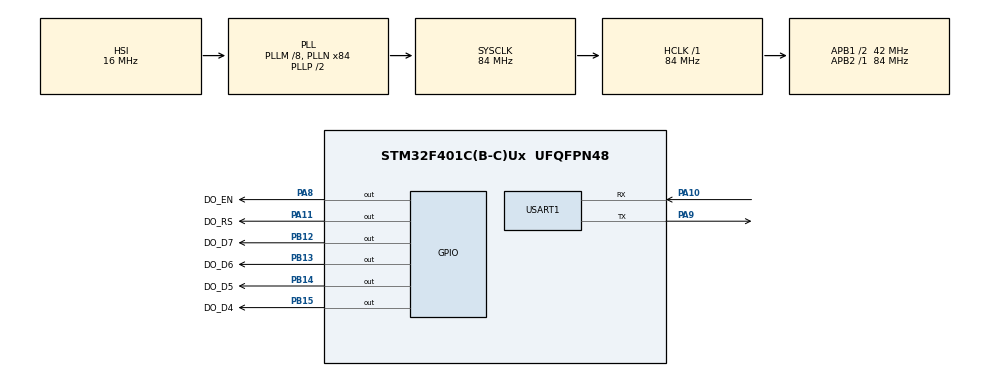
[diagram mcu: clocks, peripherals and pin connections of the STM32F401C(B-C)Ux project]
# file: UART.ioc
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Mcu.Family=STM32F4
Mcu.Name=STM32F401C(B-C)Ux
Mcu.Package=UFQFPN48
NVIC.PriorityGroup=NVIC_PRIORITYGROUP_4
PA10.Mode=Asynchronous
PA10.Signal=USART1_RX
PA11.GPIO_Label=DO_RS
PA11.Signal=GPIO_Output
PA13.Mode=Serial_Wire
PA13.Signal=SYS_JTMS-SWDIO
PA14.Mode=Serial_Wire
PA14.Signal=SYS_JTCK-SWCLK
PA8.GPIO_Label=DO_EN
PA8.Signal=GPIO_Output
PA9.Mode=Asynchronous
PA9.Signal=USART1_TX
PB12.GPIO_Label=DO_D7
PB12.Signal=GPIO_Output
PB13.GPIO_Label=DO_D6
PB13.Signal=GPIO_Output
PB14.GPIO_Label=DO_D5
PB14.Signal=GPIO_Output
PB15.GPIO_Label=DO_D4
PB15.Signal=GPIO_Output
PH0\ -\ OSC_IN.Mode=HSE-External-Oscillator
PH0\ -\ OSC_IN.Signal=RCC_OSC_IN
PH1\ -\ OSC_OUT.Mode=HSE-External-Oscillator
PH1\ -\ OSC_OUT.Signal=RCC_OSC_OUT
ProjectManager.HeapSize=0x200
ProjectManager.StackSize=0x400
ProjectManager.TargetToolchain=STM32CubeIDE
RCC.48MHZClocksFreq_Value=42000000
RCC.AHBFreq_Value=84000000
RCC.APB1CLKDivider=RCC_HCLK_DIV2
RCC.APB1Freq_Value=42000000
RCC.APB1TimFreq_Value=84000000
RCC.APB2Freq_Value=84000000
RCC.APB2TimFreq_Value=84000000
RCC.CortexFreq_Value=84000000
RCC.HCLKFreq_Value=84000000
RCC.HSE_VALUE=25000000
RCC.HSI_VALUE=16000000
RCC.LSE_VALUE=32768
RCC.PLLM=8
RCC.PLLN=84
RCC.SYSCLKFreq_VALUE=84000000
RCC.SYSCLKSource=RCC_SYSCLKSOURCE_PLLCLK
RCC.VCOOutputFreq_Value=168000000
TIM1.AutoReloadPreload=TIM_AUTORELOAD_PRELOAD_DISABLE
TIM1.Prescaler=71
USART1.VirtualMode=VM_ASYNC
VP_TIM1_VS_ClockSourceINT.Mode=Internal
board=custom

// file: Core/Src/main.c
/* USER CODE BEGIN Header */
/**
  ******************************************************************************
  * @file           : main.c
  * @brief          : Main program body
  ******************************************************************************
  * @attention
  *
  * Copyright (c) 2024 STMicroelectronics.
  * All rights reserved.
  *
  * This software is licensed under terms that can be found in the LICENSE file
  * in the root directory of this software component.
  * If no LICENSE file comes with this software, it is provided AS-IS.
  *
  ******************************************************************************
  */
/* USER CODE END Header */
#include "main.h"
#include "string.h"
/* USER CODE BEGIN Includes */
#include "LCD1602.h"
/* USER CODE END Includes */

TIM_HandleTypeDef htim1;

UART_HandleTypeDef huart1;

void SystemClock_Config(void);
static void MX_GPIO_Init(void);
static void MX_TIM1_Init(void);
static void MX_USART1_UART_Init(void);

/* USER CODE BEGIN 0 */
uint8_t B_Rx[255];
uint8_t Recieve(uint8_t B_N , uint32_t D_TO)
{
	return !HAL_UART_Receive(&huart1, B_Rx, B_N, D_TO);
}

int* get_RecievedArray()
{
	return (int *)B_Rx;
}

void Transmit(char Char[])
{
	HAL_UART_Transmit(&huart1, (uint8_t*)Char, strlen(Char), 100);
}
/* USER CODE END 0 */

int main(void)
{

  /* MCU Configuration--------------------------------------------------------*/

  /* Reset of all peripherals, Initializes the Flash interface and the Systick. */
  HAL_Init();

  /* Configure the system clock */
  SystemClock_Config();

  /* Initialize all configured peripherals */
  MX_GPIO_Init();
  MX_TIM1_Init();
  MX_USART1_UART_Init();
  /* USER CODE BEGIN 2 */
  HAL_TIM_Base_Start(&htim1);
  lcd_init ();
  lcd_clear();
  lcd_put_cur(0, 0);
  lcd_send_string("   Panda+ Kit   ");
  lcd_put_cur(1, 0);
  lcd_send_string("                ");

  Transmit("FARESPCB Co.\r\n");
  Transmit("Panda+ Development kit\r\n");

  uint8_t B_C4LCD;

  /* USER CODE END 2 */

  /* Infinite loop */
  /* USER CODE BEGIN WHILE */
  while (1)
  {
	if (Recieve(1, 1)==1)
	{
		if (B_C4LCD>15)
		{
			B_C4LCD=0;
			lcd_put_cur(1, 0);
			lcd_send_string("                ");
		}
		int *t=get_RecievedArray();
		lcd_put_cur(1,B_C4LCD);
		lcd_send_data((uint8_t)*t);
		B_C4LCD++;
		Transmit("OK\r\n");
	}
    /* USER CODE END WHILE */

  }
}

void SystemClock_Config(void)
{
  RCC_OscInitTypeDef RCC_OscInitStruct = {0};
  RCC_ClkInitTypeDef RCC_ClkInitStruct = {0};

  /** Configure the main internal regulator output voltage
  */
  __HAL_RCC_PWR_CLK_ENABLE();
  __HAL_PWR_VOLTAGESCALING_CONFIG(PWR_REGULATOR_VOLTAGE_SCALE2);
  /** Initializes the RCC Oscillators according to the specified parameters
  * in the RCC_OscInitTypeDef structure.
  */
  RCC_OscInitStruct.OscillatorType = RCC_OSCILLATORTYPE_HSI;
  RCC_OscInitStruct.HSIState = RCC_HSI_ON;
  RCC_OscInitStruct.HSICalibrationValue = RCC_HSICALIBRATION_DEFAULT;
  RCC_OscInitStruct.PLL.PLLState = RCC_PLL_ON;
  RCC_OscInitStruct.PLL.PLLSource = RCC_PLLSOURCE_HSI;
  RCC_OscInitStruct.PLL.PLLM = 8;
  RCC_OscInitStruct.PLL.PLLN = 84;
  RCC_OscInitStruct.PLL.PLLP = RCC_PLLP_DIV2;
  RCC_OscInitStruct.PLL.PLLQ = 4;
  if (HAL_RCC_OscConfig(&RCC_OscInitStruct) != HAL_OK)
  {
    Error_Handler();
  }
  /** Initializes the CPU, AHB and APB buses clocks
  */
  RCC_ClkInitStruct.ClockType = RCC_CLOCKTYPE_HCLK|RCC_CLOCKTYPE_SYSCLK
                              |RCC_CLOCKTYPE_PCLK1|RCC_CLOCKTYPE_PCLK2;
  RCC_ClkInitStruct.SYSCLKSource = RCC_SYSCLKSOURCE_PLLCLK;
  RCC_ClkInitStruct.AHBCLKDivider = RCC_SYSCLK_DIV1;
  RCC_ClkInitStruct.APB1CLKDivider = RCC_HCLK_DIV2;
  RCC_ClkInitStruct.APB2CLKDivider = RCC_HCLK_DIV1;

  if (HAL_RCC_ClockConfig(&RCC_ClkInitStruct, FLASH_LATENCY_2) != HAL_OK)
  {
    Error_Handler();
  }
}

static void MX_TIM1_Init(void)
{

  TIM_ClockConfigTypeDef sClockSourceConfig = {0};
  TIM_MasterConfigTypeDef sMasterConfig = {0};

  htim1.Instance = TIM1;
  htim1.Init.Prescaler = 71;
  htim1.Init.CounterMode = TIM_COUNTERMODE_UP;
  htim1.Init.Period = 65535;
  htim1.Init.ClockDivision = TIM_CLOCKDIVISION_DIV1;
  htim1.Init.RepetitionCounter = 0;
  htim1.Init.AutoReloadPreload = TIM_AUTORELOAD_PRELOAD_DISABLE;
  if (HAL_TIM_Base_Init(&htim1) != HAL_OK)
  {
    Error_Handler();
  }
  sClockSourceConfig.ClockSource = TIM_CLOCKSOURCE_INTERNAL;
  if (HAL_TIM_ConfigClockSource(&htim1, &sClockSourceConfig) != HAL_OK)
  {
    Error_Handler();
  }
  sMasterConfig.MasterOutputTrigger = TIM_TRGO_RESET;
  sMasterConfig.MasterSlaveMode = TIM_MASTERSLAVEMODE_DISABLE;
  if (HAL_TIMEx_MasterConfigSynchronization(&htim1, &sMasterConfig) != HAL_OK)
  {
    Error_Handler();
  }

}

static void MX_USART1_UART_Init(void)
{

  huart1.Instance = USART1;
  huart1.Init.BaudRate = 115200;
  huart1.Init.WordLength = UART_WORDLENGTH_8B;
  huart1.Init.StopBits = UART_STOPBITS_1;
  huart1.Init.Parity = UART_PARITY_NONE;
  huart1.Init.Mode = UART_MODE_TX_RX;
  huart1.Init.HwFlowCtl = UART_HWCONTROL_NONE;
  huart1.Init.OverSampling = UART_OVERSAMPLING_16;
  if (HAL_UART_Init(&huart1) != HAL_OK)
  {
    Error_Handler();
  }

}

static void MX_GPIO_Init(void)
{
  GPIO_InitTypeDef GPIO_InitStruct = {0};

  /* GPIO Ports Clock Enable */
  __HAL_RCC_GPIOH_CLK_ENABLE();
  __HAL_RCC_GPIOB_CLK_ENABLE();
  __HAL_RCC_GPIOA_CLK_ENABLE();

  /*Configure GPIO pin Output Level */
  HAL_GPIO_WritePin(GPIOB, DO_D7_Pin|DO_D6_Pin|DO_D5_Pin|DO_D4_Pin, GPIO_PIN_RESET);

  /*Configure GPIO pin Output Level */
  HAL_GPIO_WritePin(GPIOA, DO_EN_Pin|DO_RS_Pin, GPIO_PIN_RESET);

  /*Configure GPIO pins : DO_D7_Pin DO_D6_Pin DO_D5_Pin DO_D4_Pin */
  GPIO_InitStruct.Pin = DO_D7_Pin|DO_D6_Pin|DO_D5_Pin|DO_D4_Pin;
  GPIO_InitStruct.Mode = GPIO_MODE_OUTPUT_PP;
  GPIO_InitStruct.Pull = GPIO_NOPULL;
  GPIO_InitStruct.Speed = GPIO_SPEED_FREQ_LOW;
  HAL_GPIO_Init(GPIOB, &GPIO_InitStruct);

  /*Configure GPIO pins : DO_EN_Pin DO_RS_Pin */
  GPIO_InitStruct.Pin = DO_EN_Pin|DO_RS_Pin;
  GPIO_InitStruct.Mode = GPIO_MODE_OUTPUT_PP;
  GPIO_InitStruct.Pull = GPIO_NOPULL;
  GPIO_InitStruct.Speed = GPIO_SPEED_FREQ_LOW;
  HAL_GPIO_Init(GPIOA, &GPIO_InitStruct);

}

void Error_Handler(void)
{
  __disable_irq();
  while (1)
  {
  }
}
